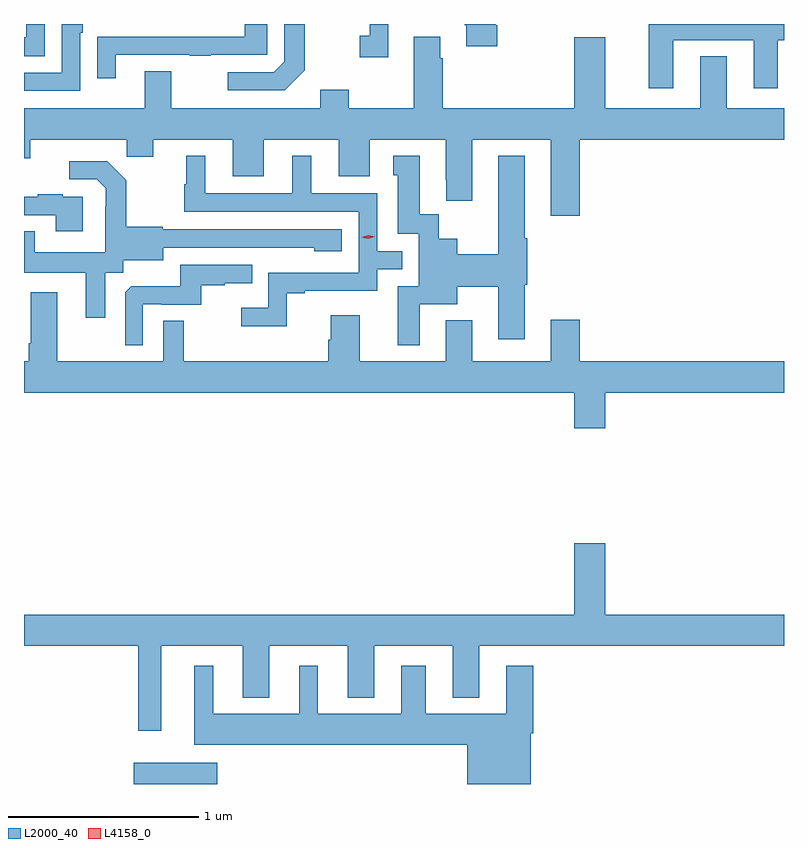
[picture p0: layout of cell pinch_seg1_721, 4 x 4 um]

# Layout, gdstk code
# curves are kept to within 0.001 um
import gdstk
lib = gdstk.Library(unit=1e-6, precision=1e-09)
def R(c, l, rs):  # rectangles x0, y0, x1, y1
    for r in rs: c.add(gdstk.rectangle(r[:2], r[2:], *l))
def P(c, l, *ps):  # polygons
    for p in ps: c.add(gdstk.Polygon(p, *l))
L2000_40 = (2000, 40)
L4158_0 = (4158, 0)

pinch_seg1_721 = lib.new_cell('pinch_seg1_721')
R(pinch_seg1_721, L2000_40, [(738.114,535.02,738.553,535.132)])
P(pinch_seg1_721, L2000_40, [(737.646,539.02),(737.55,539.02),(737.55,538.95),(737.537,538.95),(737.537,538.849),(737.646,538.849)],
  [(740.953,538.934),(741.377,538.934),(741.377,538.683),(741.505,538.683),(741.505,538.934),(741.537,538.934),(741.537,539.02),(740.825,539.02),(740.825,538.683),(740.953,538.683)],
  [(737.832,538.973),(737.845,538.973),(737.845,539.02),(737.736,539.02),(737.736,538.764),(737.537,538.764),(737.537,538.668),(737.832,538.668)],
  [(739.453,539.02),(739.356,539.02),(739.356,538.958),(739.305,538.958),(739.305,538.845),(739.453,538.845)],
  [(740.028,539.014),(740.02,539.014),(740.02,539.02),(739.858,539.02),(739.858,539.014),(739.865,539.014),(739.865,538.902),(740.028,538.902)],
  [(738.019,538.857),(738.409,538.857),(738.409,538.852),(738.521,538.852),(738.521,538.857),(738.816,538.857),(738.816,539.02),(738.7,539.02),(738.7,538.953),(738.025,538.953),(738.025,538.952),(737.923,538.952),(737.923,538.734),(738.019,538.734)],
  [(739.015,538.777),(739.015,539.02),(738.906,539.02),(738.906,538.821),(738.852,538.767),(738.609,538.767),(738.609,538.671),(738.909,538.671)],
  [(740.462,538.412),(741.537,538.412),(741.537,538.576),(741.235,538.576),(741.235,538.849),(741.095,538.849),(741.095,538.576),(740.596,538.576),(740.596,538.951),(740.432,538.951),(740.432,538.576),(739.742,538.576),(739.742,538.841),(739.729,538.841),(739.729,538.954),(739.589,538.954),(739.589,538.576),(739.245,538.576),(739.245,538.675),(739.097,538.675),(739.097,538.576),(738.313,538.576),(738.313,538.771),(738.173,538.771),(738.173,538.576),(737.537,538.576),(737.537,538.313),(737.569,538.313),(737.569,538.412),(738.079,538.412),(738.079,538.322),(738.217,538.322),(738.217,538.412),(738.635,538.412),(738.635,538.218),(738.799,538.218),(738.799,538.412),(739.193,538.412),(739.193,538.218),(739.357,538.218),(739.357,538.412),(739.757,538.412),(739.757,538.201),(739.76,538.201),(739.76,538.089),(739.897,538.089),(739.897,538.412),(740.309,538.412),(740.309,538.011),(740.462,538.011)],
  [(738.921,537.603),(739.015,537.603),(739.015,537.615),(739.395,537.615),(739.395,537.729),(739.528,537.729),(739.528,537.825),(739.395,537.825),(739.395,538.128),(739.048,538.128),(739.048,538.327),(738.95,538.327),(738.95,538.128),(738.49,538.128),(738.49,538.327),(738.392,538.327),(738.392,538.176),(738.381,538.176),(738.381,538.032),(739.299,538.032),(739.299,537.711),(738.822,537.711),(738.822,537.526),(738.681,537.526),(738.681,537.428),(738.921,537.428)],
  [(739.621,537.545),(739.816,537.545),(739.816,537.637),(740.033,537.637),(740.033,537.36),(740.173,537.36),(740.173,537.648),(740.186,537.648),(740.186,537.892),(740.173,537.892),(740.173,538.327),(740.033,538.327),(740.033,537.809),(739.816,537.809),(739.816,537.889),(739.719,537.889),(739.719,538.019),(739.621,538.019),(739.621,538.327),(739.481,538.327),(739.481,538.224),(739.505,538.224),(739.505,537.915),(739.614,537.915),(739.614,537.639),(739.505,537.639),(739.505,537.33),(739.621,537.33)],
  [(737.965,537.712),(738.06,537.712),(738.06,537.776),(738.271,537.776),(738.271,537.843),(739.065,537.842),(739.065,537.824),(739.21,537.824),(739.21,537.939),(738.267,537.939),(738.267,537.952),(738.075,537.952),(738.075,538.197),(737.975,538.297),(737.775,538.297),(737.775,538.203),(737.919,538.203),(737.966,538.156),(737.966,538.061),(737.964,538.061),(737.964,537.82),(737.593,537.82),(737.593,537.929),(737.537,537.929),(737.537,537.71),(737.861,537.71),(737.861,537.474),(737.965,537.474)],
  [(737.845,538.11),(737.741,538.11),(737.741,538.123),(737.609,538.123),(737.609,538.112),(737.537,538.112),(737.537,538.014),(737.705,538.014),(737.705,537.93),(737.845,537.93)],
  [(738.162,537.546),(738.262,537.546),(738.262,537.543),(738.47,537.543),(738.47,537.645),(738.593,537.645),(738.593,537.656),(738.737,537.656),(738.737,537.753),(738.36,537.753),(738.36,537.641),(738.101,537.641),(738.069,537.609),(738.069,537.329),(738.162,537.329)],
  [(740.432,536.892),(740.596,536.892),(740.596,537.08),(741.537,537.08),(741.537,537.244),(740.462,537.244),(740.462,537.463),(740.309,537.463),(740.309,537.244),(739.897,537.244),(739.897,537.46),(739.757,537.46),(739.757,537.244),(739.303,537.244),(739.303,537.487),(739.151,537.487),(739.151,537.357),(739.139,537.357),(739.139,537.244),(738.379,537.244),(738.379,537.458),(738.27,537.458),(738.27,537.244),(737.713,537.244),(737.713,537.607),(737.573,537.607),(737.573,537.34),(737.561,537.34),(737.561,537.244),(737.537,537.244),(737.537,537.08),(740.432,537.08)],
  [(737.537,535.748),(738.138,535.748),(738.138,535.299),(738.259,535.299),(738.259,535.748),(738.689,535.748),(738.689,535.475),(738.829,535.475),(738.829,535.748),(739.241,535.748),(739.241,535.475),(739.381,535.475),(739.381,535.748),(739.793,535.748),(739.793,535.475),(739.933,535.475),(739.933,535.748),(741.537,535.748),(741.537,535.912),(740.596,535.912),(740.596,536.287),(740.432,536.287),(740.432,535.912),(737.537,535.912)],
  [(740.203,535.286),(740.216,535.286),(740.216,535.642),(740.075,535.642),(740.075,535.39),(739.651,535.39),(739.651,535.642),(739.523,535.642),(739.523,535.39),(739.084,535.39),(739.084,535.642),(738.986,535.642),(738.986,535.39),(738.532,535.39),(738.532,535.642),(738.434,535.642),(738.434,535.226),(739.871,535.226),(739.871,535.02),(740.203,535.02)])
P(pinch_seg1_721, L4158_0, [(739.35,537.889),(739.314,537.897),(739.314,537.897),(739.314,537.897),(739.348,537.909),(739.383,537.901),(739.384,537.901),(739.383,537.901)])

lib.write_gds('pinch_seg1_721.gds')
